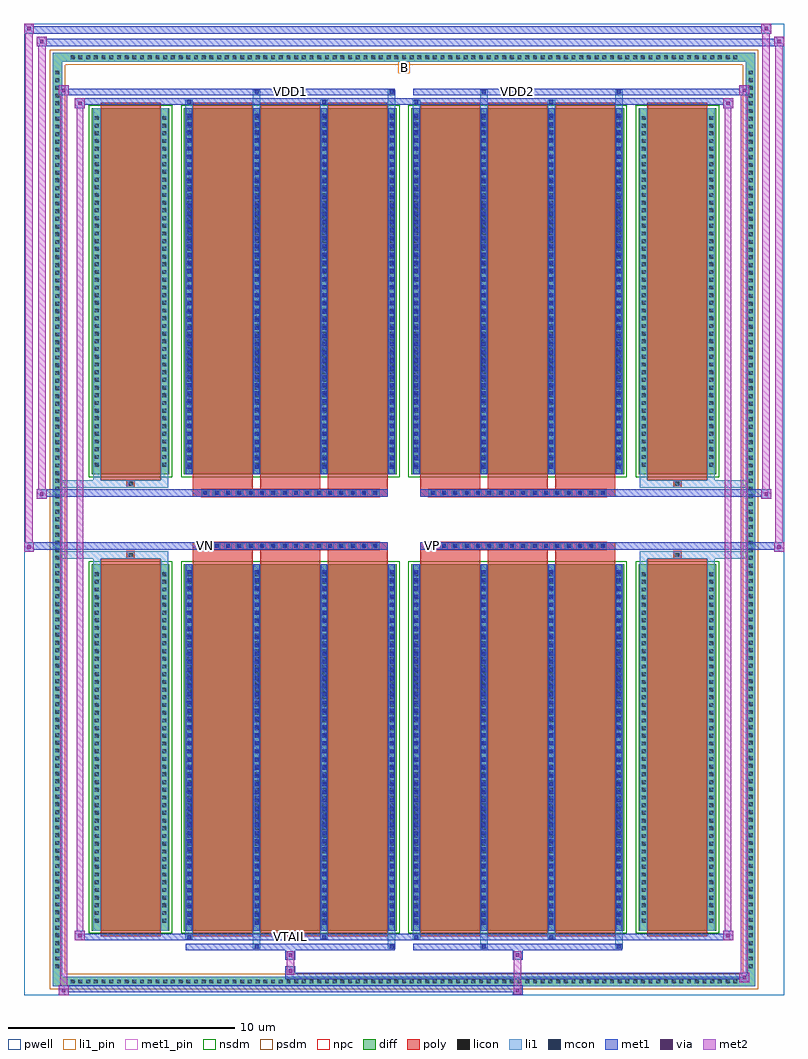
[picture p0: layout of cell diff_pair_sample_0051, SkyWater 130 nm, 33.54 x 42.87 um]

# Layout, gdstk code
import gdstk
lib = gdstk.Library(unit=1e-6, precision=5e-09)
def R(c, l, rs):  # rectangles x0, y0, x1, y1
    for r in rs: c.add(gdstk.rectangle(r[:2], r[2:], *l))
def A(c, l, x, y, w, h, nx, ny, dx, dy):  # array of equal rectangles
    R(c, l, [(x+i*dx, y+j*dy, x+i*dx+w, y+j*dy+h) for i in range(nx) for j in range(ny)])
def P(c, l, *ps):  # polygons
    for p in ps: c.add(gdstk.Polygon(p, *l))
pwell = (64, 44)
diff = (65, 20)
poly = (66, 20)
licon = (66, 44)
li1_pin = (67, 16)
li1 = (67, 20)
mcon = (67, 44)
met1_pin = (68, 16)
met1 = (68, 20)
via = (68, 44)
met2 = (69, 20)
nsdm = (93, 44)
psdm = (94, 20)
npc = (95, 20)

diff_pair_sample_0051 = lib.new_cell('diff_pair_sample_0051')
R(diff_pair_sample_0051, pwell, [(-16.77,-21,16.77,21.87), (-14.09,-19.19,-0.01,-0.805), (0.01,-19.19,14.09,-0.805), (-14.09,0.805,-0.01,19.19), (0.01,0.805,14.09,19.19)])
A(diff_pair_sample_0051, diff, -14.825, -20.6, 0.41, 0.41, 87, 2, 0.34, 40.79)
A(diff_pair_sample_0051, diff, -15.5, -19.925, 0.41, 0.41, 1, 117, 0, 0.34)
A(diff_pair_sample_0051, diff, 15.09, -19.925, 0.41, 0.41, 1, 117, 0, 0.34)
R(diff_pair_sample_0051, diff, [(-14.825,-20.6,14.825,-20.19), (-15.5,-19.925,-15.09,19.925), (15.09,-19.925,15.5,19.925), (-13.78,-18.145,-10.35,-1.985), (-9.71,-18.145,-0.32,-1.985), (0.32,-18.145,9.71,-1.985), (10.35,-18.145,13.78,-1.985), (-13.78,1.985,-10.35,18.145), (-9.71,1.985,-0.32,18.145), (0.32,1.985,9.71,18.145), (10.35,1.985,13.78,18.145), (-14.825,20.19,14.825,20.6)])
P(diff_pair_sample_0051, diff, [(15.5,20.6),(-15.5,20.6),(-15.5,-20.19),(-15.09,-20.19),(-15.09,20.19),(15.09,20.19),(15.09,-20.19),(-15.09,-20.19),(-15.5,-20.19),(-15.5,-20.6),(15.5,-20.6)])
A(diff_pair_sample_0051, poly, -9.32, -18.395, 2.65, 16.66, 3, 2, 2.98, 20.13)
A(diff_pair_sample_0051, poly, 0.71, -18.395, 2.65, 16.66, 3, 2, 2.98, 20.13)
A(diff_pair_sample_0051, poly, -9.32, -1.735, 2.65, 0.4, 3, 2, 2.98, 3.07)
A(diff_pair_sample_0051, poly, 0.71, -1.735, 2.65, 0.4, 3, 2, 2.98, 3.07)
A(diff_pair_sample_0051, poly, -8.93, -1.335, 0.33, 0.33, 16, 2, 0.5, 2.34)
A(diff_pair_sample_0051, poly, 1.1, -1.335, 0.33, 0.33, 16, 2, 0.5, 2.34)
R(diff_pair_sample_0051, poly, [(-13.39,-18.395,-10.74,-1.735), (10.74,-18.395,13.39,-1.735), (-12.23,-1.735,-11.9,-1.405), (-12.23,-1.735,-11.9,-1.405), (11.9,-1.735,12.23,-1.405), (11.9,-1.735,12.23,-1.405), (-9.32,-1.335,-0.71,-1.005), (0.71,-1.335,9.32,-1.005), (-9.32,1.005,-0.71,1.335), (0.71,1.005,9.32,1.335), (-12.23,1.405,-11.9,1.735), (-12.23,1.405,-11.9,1.735), (11.9,1.405,12.23,1.735), (11.9,1.405,12.23,1.735), (-13.39,1.735,-10.74,18.395), (10.74,1.735,13.39,18.395)])
A(diff_pair_sample_0051, licon, -14.705, -20.48, 0.17, 0.17, 87, 2, 0.34, 40.79)
A(diff_pair_sample_0051, licon, -15.38, -19.805, 0.17, 0.17, 1, 117, 0, 0.34)
A(diff_pair_sample_0051, licon, 15.21, -19.805, 0.17, 0.17, 1, 117, 0, 0.34)
A(diff_pair_sample_0051, licon, -13.64, -17.8, 0.17, 0.17, 1, 46, 0, 0.34)
A(diff_pair_sample_0051, licon, -10.66, -17.8, 0.17, 0.17, 1, 46, 0, 0.34)
A(diff_pair_sample_0051, licon, -9.57, -17.8, 0.17, 0.17, 4, 46, 2.98, 0.34)
A(diff_pair_sample_0051, licon, 0.46, -17.8, 0.17, 0.17, 4, 46, 2.98, 0.34)
A(diff_pair_sample_0051, licon, 10.49, -17.8, 0.17, 0.17, 1, 46, 0, 0.34)
A(diff_pair_sample_0051, licon, 13.47, -17.8, 0.17, 0.17, 1, 46, 0, 0.34)
A(diff_pair_sample_0051, licon, -8.85, -1.255, 0.17, 0.17, 16, 2, 0.5, 2.34)
A(diff_pair_sample_0051, licon, 1.18, -1.255, 0.17, 0.17, 16, 2, 0.5, 2.34)
A(diff_pair_sample_0051, licon, -13.64, 2.33, 0.17, 0.17, 1, 46, 0, 0.34)
A(diff_pair_sample_0051, licon, -10.66, 2.33, 0.17, 0.17, 1, 46, 0, 0.34)
A(diff_pair_sample_0051, licon, -9.57, 2.33, 0.17, 0.17, 4, 46, 2.98, 0.34)
A(diff_pair_sample_0051, licon, 0.46, 2.33, 0.17, 0.17, 4, 46, 2.98, 0.34)
A(diff_pair_sample_0051, licon, 10.49, 2.33, 0.17, 0.17, 1, 46, 0, 0.34)
A(diff_pair_sample_0051, licon, 13.47, 2.33, 0.17, 0.17, 1, 46, 0, 0.34)
R(diff_pair_sample_0051, licon, [(-12.15,-1.655,-11.98,-1.485), (11.98,-1.655,12.15,-1.485), (-12.15,1.485,-11.98,1.655), (11.98,1.485,12.15,1.655)])
R(diff_pair_sample_0051, li1_pin, [(-0.25,19.69,0.25,20.19)])
A(diff_pair_sample_0051, li1, -14.785, -20.56, 0.33, 0.33, 87, 2, 0.34, 40.79)
A(diff_pair_sample_0051, li1, -15.46, -19.885, 0.33, 0.33, 1, 117, 0, 0.34)
A(diff_pair_sample_0051, li1, 15.13, -19.885, 0.33, 0.33, 1, 117, 0, 0.34)
A(diff_pair_sample_0051, li1, -9.65, -18.145, 0.33, 16.16, 4, 2, 2.98, 20.13)
A(diff_pair_sample_0051, li1, 0.38, -18.145, 0.33, 16.16, 4, 2, 2.98, 20.13)
A(diff_pair_sample_0051, li1, -9.57, -17.89, 0.17, 0.17, 4, 44, 2.98, 0.36)
A(diff_pair_sample_0051, li1, -9.57, -17.89, 0.17, 15.65, 4, 2, 2.98, 20.13)
A(diff_pair_sample_0051, li1, 0.46, -17.89, 0.17, 0.17, 4, 44, 2.98, 0.36)
A(diff_pair_sample_0051, li1, 0.46, -17.89, 0.17, 15.65, 4, 2, 2.98, 20.13)
A(diff_pair_sample_0051, li1, -13.72, -17.88, 0.33, 0.33, 1, 46, 0, 0.34)
A(diff_pair_sample_0051, li1, -10.74, -17.88, 0.33, 0.33, 1, 46, 0, 0.34)
A(diff_pair_sample_0051, li1, -9.65, -17.88, 0.33, 0.33, 4, 46, 2.98, 0.34)
A(diff_pair_sample_0051, li1, 0.38, -17.88, 0.33, 0.33, 4, 46, 2.98, 0.34)
A(diff_pair_sample_0051, li1, 10.41, -17.88, 0.33, 0.33, 1, 46, 0, 0.34)
A(diff_pair_sample_0051, li1, 13.39, -17.88, 0.33, 0.33, 1, 46, 0, 0.34)
A(diff_pair_sample_0051, li1, -8.93, -1.335, 0.33, 0.33, 16, 2, 0.5, 2.34)
A(diff_pair_sample_0051, li1, 1.1, -1.335, 0.33, 0.33, 16, 2, 0.5, 2.34)
A(diff_pair_sample_0051, li1, -9.57, 2.24, 0.17, 0.17, 4, 44, 2.98, 0.36)
A(diff_pair_sample_0051, li1, 0.46, 2.24, 0.17, 0.17, 4, 44, 2.98, 0.36)
A(diff_pair_sample_0051, li1, -13.72, 2.25, 0.33, 0.33, 1, 46, 0, 0.34)
A(diff_pair_sample_0051, li1, -10.74, 2.25, 0.33, 0.33, 1, 46, 0, 0.34)
A(diff_pair_sample_0051, li1, -9.65, 2.25, 0.33, 0.33, 4, 46, 2.98, 0.34)
A(diff_pair_sample_0051, li1, 0.38, 2.25, 0.33, 0.33, 4, 46, 2.98, 0.34)
A(diff_pair_sample_0051, li1, 10.41, 2.25, 0.33, 0.33, 1, 46, 0, 0.34)
A(diff_pair_sample_0051, li1, 13.39, 2.25, 0.33, 0.33, 1, 46, 0, 0.34)
R(diff_pair_sample_0051, li1, [(-15.5,-20.6,-15.09,-20.19), (-15.5,-20.6,-15.09,-20.19), (-15.09,-20.6,15.09,-20.19), (15.09,-20.6,15.5,-20.19), (15.09,-20.6,15.5,-20.19), (-15.5,-20.19,-15.09,20.19), (15.09,-20.19,15.5,20.19), (-6.67,-18.95,-6.34,-18.145), (-6.59,-18.95,-6.42,-18.78), (-0.71,-18.95,-0.38,-18.145), (-0.63,-18.95,-0.46,-18.78), (3.36,-18.95,3.69,-18.145), (3.44,-18.95,3.61,-18.78), (9.32,-18.95,9.65,-18.145), (9.4,-18.95,9.57,-18.78), (-9.65,-18.52,-9.32,-18.145), (-9.57,-18.52,-9.4,-18.35), (-3.69,-18.52,-3.36,-18.145), (-3.61,-18.52,-3.44,-18.35), (0.38,-18.52,0.71,-18.145), (0.46,-18.52,0.63,-18.35), (6.34,-18.52,6.67,-18.145), (6.42,-18.52,6.59,-18.35), (-13.72,-18.145,-13.39,-1.985), (-10.74,-18.145,-10.41,-1.985), (10.41,-18.145,10.74,-1.985), (13.39,-18.145,13.72,-1.985), (-13.72,-1.985,-13.39,-1.405), (-10.74,-1.985,-10.41,-1.405), (10.41,-1.985,10.74,-1.405), (13.39,-1.985,13.72,-1.405), (-15.5,-1.735,-12.23,-1.405), (-13.72,-1.735,-12.23,-1.405), (-12.23,-1.735,-11.9,-1.405), (-11.9,-1.735,-10.41,-1.405), (10.41,-1.735,11.9,-1.405), (11.9,-1.735,12.23,-1.405), (11.9,-1.735,15.5,-1.405), (12.23,-1.735,13.72,-1.405), (-15.5,1.405,-12.23,1.735), (-13.72,1.405,-12.23,1.735), (-13.72,1.405,-13.39,1.985), (-12.23,1.405,-11.9,1.735), (-11.9,1.405,-10.41,1.735), (-10.74,1.405,-10.41,1.985), (10.41,1.405,11.9,1.735), (10.41,1.405,10.74,1.985), (11.9,1.405,12.23,1.735), (11.9,1.405,15.5,1.735), (12.23,1.405,13.72,1.735), (13.39,1.405,13.72,1.985), (-13.72,1.985,-13.39,18.145), (-10.74,1.985,-10.41,18.145), (10.41,1.985,10.74,18.145), (13.39,1.985,13.72,18.145), (-9.65,18.145,-9.32,18.52), (-6.67,18.145,-6.34,18.95), (-3.69,18.145,-3.36,18.52), (-0.71,18.145,-0.38,18.95), (0.38,18.145,0.71,18.52), (3.36,18.145,3.69,18.95), (6.34,18.145,6.67,18.52), (9.32,18.145,9.65,18.95), (-9.57,18.35,-9.4,18.52), (-3.61,18.35,-3.44,18.52), (0.46,18.35,0.63,18.52), (6.42,18.35,6.59,18.52), (-6.59,18.78,-6.42,18.95), (-0.63,18.78,-0.46,18.95), (3.44,18.78,3.61,18.95), (9.4,18.78,9.57,18.95), (-15.5,20.19,-15.09,20.6), (-15.5,20.19,-15.09,20.6), (-15.09,20.19,15.09,20.6), (15.09,20.19,15.5,20.6), (15.09,20.19,15.5,20.6)])
A(diff_pair_sample_0051, mcon, -9.57, -17.89, 0.17, 0.17, 4, 44, 2.98, 0.36)
A(diff_pair_sample_0051, mcon, 0.46, -17.89, 0.17, 0.17, 4, 44, 2.98, 0.36)
A(diff_pair_sample_0051, mcon, -8.85, -1.255, 0.17, 0.17, 16, 2, 0.5, 2.34)
A(diff_pair_sample_0051, mcon, 1.18, -1.255, 0.17, 0.17, 16, 2, 0.5, 2.34)
A(diff_pair_sample_0051, mcon, -9.57, 2.24, 0.17, 0.17, 4, 44, 2.98, 0.36)
A(diff_pair_sample_0051, mcon, 0.46, 2.24, 0.17, 0.17, 4, 44, 2.98, 0.36)
R(diff_pair_sample_0051, mcon, [(-6.59,-18.95,-6.42,-18.78), (-0.63,-18.95,-0.46,-18.78), (3.44,-18.95,3.61,-18.78), (9.4,-18.95,9.57,-18.78), (-9.57,-18.52,-9.4,-18.35), (-3.61,-18.52,-3.44,-18.35), (0.46,-18.52,0.63,-18.35), (6.42,-18.52,6.59,-18.35), (-9.57,18.35,-9.4,18.52), (-3.61,18.35,-3.44,18.52), (0.46,18.35,0.63,18.52), (6.42,18.35,6.59,18.52), (-6.59,18.78,-6.42,18.95), (-0.63,18.78,-0.46,18.95), (3.44,18.78,3.61,18.95), (9.4,18.78,9.57,18.95)])
R(diff_pair_sample_0051, met1_pin, [(-5.15,-18.56,-4.88,-18.29), (-8.9,-1.295,-8.63,-1.025), (1.13,-1.295,1.4,-1.025), (-5.15,18.74,-4.88,19.01), (4.88,18.74,5.15,19.01)])
A(diff_pair_sample_0051, met1, -9.63, -18.145, 0.29, 16.16, 4, 2, 2.98, 20.13)
A(diff_pair_sample_0051, met1, 0.4, -18.145, 0.29, 16.16, 4, 2, 2.98, 20.13)
A(diff_pair_sample_0051, met1, -9.63, -17.95, 0.29, 0.29, 4, 44, 2.98, 0.36)
A(diff_pair_sample_0051, met1, 0.4, -17.95, 0.29, 0.29, 4, 44, 2.98, 0.36)
A(diff_pair_sample_0051, met1, -8.91, -1.315, 0.29, 0.29, 16, 2, 0.5, 2.34)
A(diff_pair_sample_0051, met1, 1.12, -1.315, 0.29, 0.29, 16, 2, 0.5, 2.34)
A(diff_pair_sample_0051, met1, -9.63, 2.18, 0.29, 0.29, 4, 44, 2.98, 0.36)
A(diff_pair_sample_0051, met1, 0.4, 2.18, 0.29, 0.29, 4, 44, 2.98, 0.36)
R(diff_pair_sample_0051, met1, [(-15.23,-21,-14.8,-20.57), (4.8,-21,5.23,-20.57), (-15.23,-20.86,5.23,-20.57), (14.8,-20.43,15.23,-20), (-5.23,-20.29,15.23,-20), (-5.23,-20.15,-4.8,-19.72), (-5.23,-19.44,-4.8,-19.01), (4.8,-19.44,5.23,-19.01), (-9.63,-19.01,-0.4,-18.72), (-6.65,-19.01,-6.36,-18.72), (-0.69,-19.01,-0.4,-18.72), (0.4,-19.01,9.63,-18.72), (3.38,-19.01,3.67,-18.72), (9.34,-19.01,9.63,-18.72), (-14.52,-18.58,-14.09,-18.15), (-14.52,-18.58,-9.63,-18.29), (-9.63,-18.58,-9.34,-18.29), (-9.63,-18.58,-0.4,-18.29), (-3.67,-18.58,-3.38,-18.29), (-0.4,-18.58,0.4,-18.29), (0.4,-18.58,0.69,-18.29), (0.4,-18.58,9.63,-18.29), (6.36,-18.58,6.65,-18.29), (9.63,-18.58,14.52,-18.29), (14.09,-18.58,14.52,-18.15), (-16.77,-1.435,-16.34,-1.005), (16.34,-1.435,16.77,-1.005), (-16.77,-1.335,-0.71,-1.005), (-9.32,-1.335,-0.71,-1.005), (0.71,-1.335,9.32,-1.005), (0.71,-1.335,16.77,-1.005), (-16.2,0.905,-15.77,1.335), (15.77,0.905,16.2,1.335), (-16.2,1.005,-9.32,1.335), (-9.32,1.005,-0.71,1.335), (0.71,1.005,9.32,1.335), (9.32,1.005,16.2,1.335), (-14.52,18.15,-14.09,18.58), (14.09,18.15,14.52,18.58), (-14.52,18.29,-9.63,18.58), (-9.63,18.29,-9.34,18.58), (-9.63,18.29,-0.4,18.58), (-3.67,18.29,-3.38,18.58), (-0.4,18.29,0.4,18.58), (0.4,18.29,0.69,18.58), (0.4,18.29,9.63,18.58), (6.36,18.29,6.65,18.58), (9.63,18.29,14.52,18.58), (-15.23,18.72,-14.8,19.15), (-15.23,18.72,-9.63,19.01), (-9.63,18.72,-0.4,19.01), (-6.65,18.72,-6.36,19.01), (-0.69,18.72,-0.4,19.01), (0.4,18.72,9.63,19.01), (3.38,18.72,3.67,19.01), (9.34,18.72,9.63,19.01), (9.63,18.72,15.23,19.01), (14.8,18.72,15.23,19.15), (-16.2,20.87,-15.77,21.3), (-16.2,20.87,-14.09,21.2), (-14.09,20.87,14.09,21.2), (14.09,20.87,16.77,21.2), (16.34,20.87,16.77,21.3), (-16.77,21.44,-16.34,21.87), (-16.77,21.44,-14.09,21.77), (-14.09,21.44,14.09,21.77), (14.09,21.44,16.2,21.77), (15.77,21.44,16.2,21.87)])
R(diff_pair_sample_0051, via, [(-15.09,-20.86,-14.94,-20.71), (4.94,-20.86,5.09,-20.71), (14.94,-20.29,15.09,-20.14), (-5.09,-20.01,-4.94,-19.86), (-5.09,-19.3,-4.94,-19.15), (4.94,-19.3,5.09,-19.15), (-14.38,-18.44,-14.23,-18.29), (14.23,-18.44,14.38,-18.29), (-16.63,-1.295,-16.48,-1.145), (16.48,-1.295,16.63,-1.145), (-16.06,1.045,-15.91,1.195), (15.91,1.045,16.06,1.195), (-14.38,18.29,-14.23,18.44), (14.23,18.29,14.38,18.44), (-15.09,18.86,-14.94,19.01), (14.94,18.86,15.09,19.01), (-16.06,21.01,-15.91,21.16), (16.48,21.01,16.63,21.16), (-16.63,21.58,-16.48,21.73), (15.91,21.58,16.06,21.73)])
R(diff_pair_sample_0051, met2, [(-15.23,-21,-14.8,-20.57), (-15.16,-21,-14.87,19.15), (-14.87,-21,-14.8,-20.57), (-15.18,-20.95,-14.85,-20.62), (4.85,-20.95,5.18,-20.62), (4.85,-20.62,5.18,-19.39), (14.8,-20.43,15.23,-20), (14.87,-20.43,15.16,19.15), (15.16,-20.43,15.23,-20), (14.85,-20.38,15.18,-20.05), (-5.18,-20.1,-4.85,-19.77), (-5.18,-19.77,-4.85,-19.39), (-5.18,-19.39,-4.85,-19.06), (4.85,-19.39,5.18,-19.06), (-14.52,-18.58,-14.09,-18.15), (-14.45,-18.58,-14.16,18.58), (-14.16,-18.58,-14.09,-18.15), (14.09,-18.58,14.52,-18.15), (14.16,-18.58,14.45,18.58), (14.45,-18.58,14.52,-18.15), (-14.47,-18.53,-14.14,-18.2), (14.14,-18.53,14.47,-18.2), (-16.77,-1.435,-16.34,-1.005), (-16.72,-1.435,-16.39,21.87), (-16.39,-1.435,-16.34,-1.005), (16.34,-1.435,16.77,-1.005), (16.39,-1.435,16.72,21.3), (16.72,-1.435,16.77,-1.005), (-16.72,-1.385,-16.39,-1.055), (16.39,-1.385,16.72,-1.055), (-16.2,0.905,-15.77,1.335), (-16.15,0.905,-15.82,21.3), (-15.82,0.905,-15.77,1.335), (15.77,0.905,16.2,1.335), (15.82,0.905,16.15,21.87), (16.15,0.905,16.2,1.335), (-16.15,0.955,-15.82,1.285), (15.82,0.955,16.15,1.285), (-14.52,18.15,-14.09,18.58), (-14.16,18.15,-14.09,18.58), (14.09,18.15,14.52,18.58), (14.45,18.15,14.52,18.58), (-14.47,18.2,-14.14,18.53), (14.14,18.2,14.47,18.53), (-15.23,18.72,-14.8,19.15), (-14.87,18.72,-14.8,19.15), (14.8,18.72,15.23,19.15), (15.16,18.72,15.23,19.15), (-15.18,18.77,-14.85,19.1), (14.85,18.77,15.18,19.1), (-16.2,20.87,-15.77,21.3), (-15.82,20.87,-15.77,21.3), (16.34,20.87,16.77,21.3), (16.72,20.87,16.77,21.3), (-16.15,20.92,-15.82,21.25), (16.39,20.92,16.72,21.25), (-16.77,21.44,-16.34,21.87), (-16.39,21.44,-16.34,21.87), (15.77,21.44,16.2,21.87), (16.15,21.44,16.2,21.87), (-16.72,21.49,-16.39,21.82), (15.82,21.49,16.15,21.82)])
R(diff_pair_sample_0051, nsdm, [(-13.91,-18.275,-10.22,-1.855), (-9.84,-18.275,-0.19,-1.855), (0.19,-18.275,9.84,-1.855), (10.22,-18.275,13.91,-1.855), (-13.91,1.855,-10.22,18.275), (-9.84,1.855,-0.19,18.275), (0.19,1.855,9.84,18.275), (10.22,1.855,13.91,18.275)])
P(diff_pair_sample_0051, psdm, [(15.63,20.73),(-15.63,20.73),(-15.63,-20.06),(-14.96,-20.06),(-14.96,20.06),(14.96,20.06),(14.96,-20.06),(-14.96,-20.06),(-15.63,-20.06),(-15.63,-20.73),(15.63,-20.73)])
A(diff_pair_sample_0051, npc, -8.95, -1.355, 0.37, 0.37, 16, 2, 0.5, 2.34)
A(diff_pair_sample_0051, npc, 1.08, -1.355, 0.37, 0.37, 16, 2, 0.5, 2.34)
R(diff_pair_sample_0051, npc, [(-12.25,-1.755,-11.88,-1.385), (11.88,-1.755,12.25,-1.385), (-8.95,-1.355,-8.08,-0.985), (-8.95,-1.355,-8.08,-0.985), (-8.45,-1.355,-7.58,-0.985), (-8.45,-1.355,-7.58,-0.985), (-7.95,-1.355,-7.08,-0.985), (-7.95,-1.355,-7.08,-0.985), (-7.45,-1.355,-6.58,-0.985), (-7.45,-1.355,-6.58,-0.985), (-6.95,-1.355,-6.08,-0.985), (-6.95,-1.355,-6.08,-0.985), (-6.45,-1.355,-5.58,-0.985), (-6.45,-1.355,-5.58,-0.985), (-5.95,-1.355,-5.08,-0.985), (-5.95,-1.355,-5.08,-0.985), (-5.45,-1.355,-4.58,-0.985), (-5.45,-1.355,-4.58,-0.985), (-4.95,-1.355,-4.08,-0.985), (-4.95,-1.355,-4.08,-0.985), (-4.45,-1.355,-3.58,-0.985), (-4.45,-1.355,-3.58,-0.985), (-3.95,-1.355,-3.08,-0.985), (-3.95,-1.355,-3.08,-0.985), (-3.45,-1.355,-2.58,-0.985), (-3.45,-1.355,-2.58,-0.985), (-2.95,-1.355,-2.08,-0.985), (-2.95,-1.355,-2.08,-0.985), (-2.45,-1.355,-1.58,-0.985), (-2.45,-1.355,-1.58,-0.985), (-1.95,-1.355,-1.08,-0.985), (-1.95,-1.355,-1.08,-0.985), (1.08,-1.355,1.95,-0.985), (1.08,-1.355,1.95,-0.985), (1.58,-1.355,2.45,-0.985), (1.58,-1.355,2.45,-0.985), (2.08,-1.355,2.95,-0.985), (2.08,-1.355,2.95,-0.985), (2.58,-1.355,3.45,-0.985), (2.58,-1.355,3.45,-0.985), (3.08,-1.355,3.95,-0.985), (3.08,-1.355,3.95,-0.985), (3.58,-1.355,4.45,-0.985), (3.58,-1.355,4.45,-0.985), (4.08,-1.355,4.95,-0.985), (4.08,-1.355,4.95,-0.985), (4.58,-1.355,5.45,-0.985), (4.58,-1.355,5.45,-0.985), (5.08,-1.355,5.95,-0.985), (5.08,-1.355,5.95,-0.985), (5.58,-1.355,6.45,-0.985), (5.58,-1.355,6.45,-0.985), (6.08,-1.355,6.95,-0.985), (6.08,-1.355,6.95,-0.985), (6.58,-1.355,7.45,-0.985), (6.58,-1.355,7.45,-0.985), (7.08,-1.355,7.95,-0.985), (7.08,-1.355,7.95,-0.985), (7.58,-1.355,8.45,-0.985), (7.58,-1.355,8.45,-0.985), (8.08,-1.355,8.95,-0.985), (8.08,-1.355,8.95,-0.985), (-8.95,0.985,-8.08,1.355), (-8.95,0.985,-8.08,1.355), (-8.45,0.985,-7.58,1.355), (-8.45,0.985,-7.58,1.355), (-7.95,0.985,-7.08,1.355), (-7.95,0.985,-7.08,1.355), (-7.45,0.985,-6.58,1.355), (-7.45,0.985,-6.58,1.355), (-6.95,0.985,-6.08,1.355), (-6.95,0.985,-6.08,1.355), (-6.45,0.985,-5.58,1.355), (-6.45,0.985,-5.58,1.355), (-5.95,0.985,-5.08,1.355), (-5.95,0.985,-5.08,1.355), (-5.45,0.985,-4.58,1.355), (-5.45,0.985,-4.58,1.355), (-4.95,0.985,-4.08,1.355), (-4.95,0.985,-4.08,1.355), (-4.45,0.985,-3.58,1.355), (-4.45,0.985,-3.58,1.355), (-3.95,0.985,-3.08,1.355), (-3.95,0.985,-3.08,1.355), (-3.45,0.985,-2.58,1.355), (-3.45,0.985,-2.58,1.355), (-2.95,0.985,-2.08,1.355), (-2.95,0.985,-2.08,1.355), (-2.45,0.985,-1.58,1.355), (-2.45,0.985,-1.58,1.355), (-1.95,0.985,-1.08,1.355), (-1.95,0.985,-1.08,1.355), (1.08,0.985,1.95,1.355), (1.08,0.985,1.95,1.355), (1.58,0.985,2.45,1.355), (1.58,0.985,2.45,1.355), (2.08,0.985,2.95,1.355), (2.08,0.985,2.95,1.355), (2.58,0.985,3.45,1.355), (2.58,0.985,3.45,1.355), (3.08,0.985,3.95,1.355), (3.08,0.985,3.95,1.355), (3.58,0.985,4.45,1.355), (3.58,0.985,4.45,1.355), (4.08,0.985,4.95,1.355), (4.08,0.985,4.95,1.355), (4.58,0.985,5.45,1.355), (4.58,0.985,5.45,1.355), (5.08,0.985,5.95,1.355), (5.08,0.985,5.95,1.355), (5.58,0.985,6.45,1.355), (5.58,0.985,6.45,1.355), (6.08,0.985,6.95,1.355), (6.08,0.985,6.95,1.355), (6.58,0.985,7.45,1.355), (6.58,0.985,7.45,1.355), (7.08,0.985,7.95,1.355), (7.08,0.985,7.95,1.355), (7.58,0.985,8.45,1.355), (7.58,0.985,8.45,1.355), (8.08,0.985,8.95,1.355), (8.08,0.985,8.95,1.355), (-12.25,1.385,-11.88,1.755), (11.88,1.385,12.25,1.755)])
diff_pair_sample_0051.add(gdstk.Label('VTAIL', (-5.015,-18.425), layer=68, texttype=5))
diff_pair_sample_0051.add(gdstk.Label('VN', (-8.765,-1.16), layer=68, texttype=5))
diff_pair_sample_0051.add(gdstk.Label('VP', (1.265,-1.16), layer=68, texttype=5))
diff_pair_sample_0051.add(gdstk.Label('B', (0,19.94), layer=67, texttype=5))
diff_pair_sample_0051.add(gdstk.Label('VDD2', (5.015,18.875), layer=68, texttype=5))
diff_pair_sample_0051.add(gdstk.Label('VDD1', (-5.015,18.875), layer=68, texttype=5))

lib.write_gds('diff_pair_sample_0051.gds')
